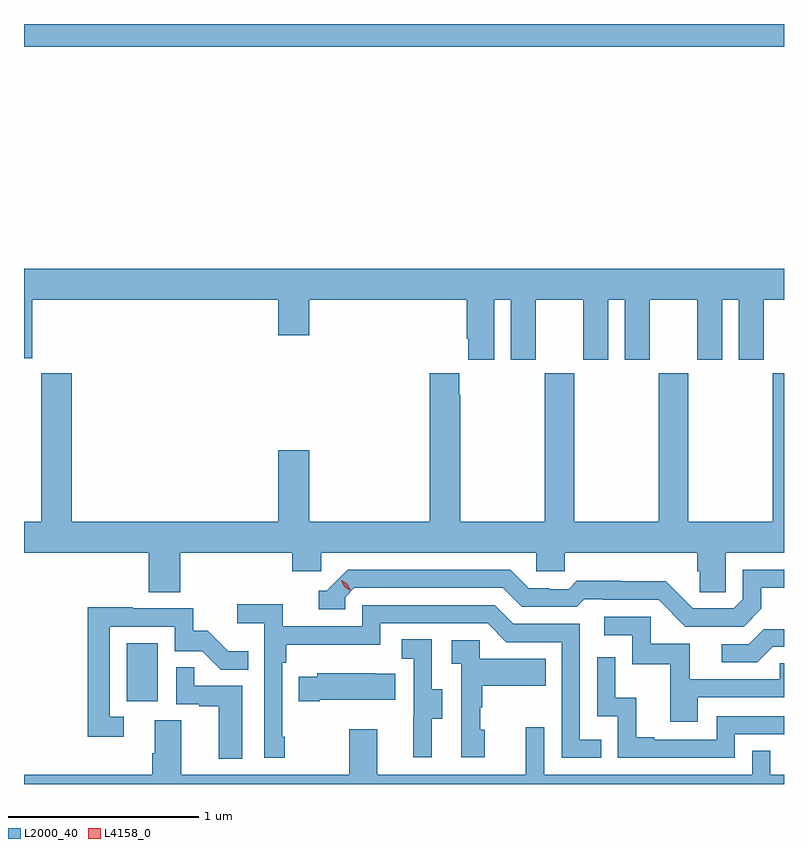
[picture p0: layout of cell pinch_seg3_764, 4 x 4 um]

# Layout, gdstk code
import gdstk
lib = gdstk.Library(unit=1e-6, precision=1e-09)
def R(c, l, rs):  # rectangles x0, y0, x1, y1
    for r in rs: c.add(gdstk.rectangle(r[:2], r[2:], *l))
def P(c, l, *ps):  # polygons
    for p in ps: c.add(gdstk.Polygon(p, *l))
L2000_40 = (2000, 40)
L4158_0 = (4158, 0)

pinch_seg3_764 = lib.new_cell('pinch_seg3_764')
R(pinch_seg3_764, L2000_40, [(811.562,734.766,811.726,735.073), (811.022,738.212,815.022,738.331)])
P(pinch_seg3_764, L2000_40, [(813.496,736.88),(813.584,736.88),(813.584,736.563),(813.715,736.563),(813.715,736.88),(813.965,736.88),(813.965,736.563),(814.096,736.563),(814.096,736.88),(814.184,736.88),(814.184,736.563),(814.315,736.563),(814.315,736.88),(814.565,736.88),(814.565,736.563),(814.696,736.563),(814.696,736.88),(814.784,736.88),(814.784,736.563),(814.915,736.563),(814.915,736.88),(815.022,736.88),(815.022,737.044),(811.022,737.044),(811.022,736.571),(811.066,736.571),(811.066,736.88),(812.36,736.88),(812.36,736.692),(812.524,736.692),(812.524,736.88),(813.353,736.88),(813.353,736.675),(813.359,736.675),(813.359,736.563),(813.496,736.563)],
  [(811.844,735.548),(812.435,735.548),(812.435,735.45),(812.586,735.45),(812.586,735.548),(813.717,735.548),(813.717,735.45),(813.867,735.45),(813.867,735.548),(814.565,735.548),(814.565,735.45),(814.579,735.45),(814.579,735.34),(814.716,735.34),(814.716,735.548),(815.022,735.548),(815.022,736.492),(814.963,736.492),(814.963,735.712),(814.518,735.712),(814.518,736.492),(814.363,736.492),(814.363,735.712),(813.918,735.712),(813.918,736.492),(813.763,736.492),(813.763,735.712),(813.318,735.712),(813.318,736.379),(813.313,736.379),(813.313,736.492),(813.158,736.492),(813.158,735.712),(812.524,735.712),(812.524,736.087),(812.36,736.087),(812.36,735.712),(811.274,735.712),(811.274,736.492),(811.114,736.492),(811.114,735.712),(811.022,735.712),(811.022,735.548),(811.679,735.548),(811.679,735.34),(811.844,735.34)],
  [(814.903,735.253),(814.903,735.363),(815.022,735.363),(815.022,735.459),(814.806,735.459),(814.806,735.303),(814.758,735.255),(814.542,735.255),(814.4,735.397),(814.164,735.397),(814.164,735.4),(813.931,735.4),(813.889,735.357),(813.786,735.357),(813.786,735.36),(813.679,735.36),(813.58,735.459),(812.727,735.459),(812.616,735.348),(812.573,735.348),(812.573,735.252),(812.712,735.252),(812.712,735.315),(812.76,735.363),(813.543,735.363),(813.642,735.264),(813.931,735.264),(813.97,735.303),(814.069,735.303),(814.069,735.3),(814.362,735.3),(814.503,735.159),(814.809,735.159)],
  [(812.395,734.581),(812.382,734.581),(812.382,734.969),(812.402,734.969),(812.402,735.065),(812.898,735.065),(812.898,735.177),(813.462,735.177),(813.561,735.078),(813.852,735.078),(813.852,734.469),(814.061,734.469),(814.061,734.565),(813.948,734.565),(813.948,735.174),(813.598,735.174),(813.499,735.273),(812.802,735.273),(812.802,735.162),(812.384,735.162),(812.384,735.278),(812.145,735.278),(812.145,735.176),(812.286,735.176),(812.286,734.469),(812.395,734.469)],
  [(811.546,734.685),(811.473,734.685),(811.473,735.159),(811.815,735.159),(811.815,735.03),(811.96,735.03),(812.058,734.932),(812.201,734.932),(812.201,735.031),(812.097,735.031),(811.99,735.138),(811.914,735.138),(811.914,735.255),(811.595,735.255),(811.595,735.26),(811.357,735.26),(811.357,734.58),(811.546,734.58)],
  [(814.567,734.787),(815.022,734.787),(815.022,734.967),(814.999,734.967),(814.999,734.883),(814.525,734.883),(814.525,735.069),(814.32,735.069),(814.32,735.21),(814.077,735.21),(814.077,735.114),(814.224,735.114),(814.224,734.961),(814.423,734.961),(814.423,734.658),(814.567,734.658)],
  [(814.963,735.054),(815.022,735.054),(815.022,735.146),(814.916,735.146),(814.836,735.066),(814.695,735.066),(814.695,734.973),(814.882,734.973)],
  [(813.169,734.674),(813.223,734.674),(813.223,734.829),(813.168,734.829),(813.168,735.092),(813.009,735.092),(813.009,734.989),(813.072,734.989),(813.072,734.685),(813.071,734.685),(813.071,734.472),(813.169,734.472)],
  [(813.448,734.616),(813.423,734.616),(813.423,734.735),(813.433,734.735),(813.433,734.849),(813.767,734.849),(813.767,734.989),(813.42,734.989),(813.42,735.087),(813.273,735.087),(813.273,734.963),(813.324,734.963),(813.324,734.472),(813.448,734.472)],
  [(814.764,734.592),(815.022,734.592),(815.022,734.688),(814.668,734.688),(814.668,734.565),(814.339,734.565),(814.339,734.578),(814.244,734.578),(814.244,734.786),(814.134,734.786),(814.134,734.998),(814.038,734.998),(814.038,734.688),(814.146,734.688),(814.146,734.469),(814.764,734.469)],
  [(812.17,734.847),(811.919,734.847),(811.919,734.945),(811.824,734.945),(811.824,734.751),(811.945,734.751),(811.945,734.739),(812.048,734.739),(812.048,734.465),(812.17,734.465)],
  [(812.578,734.774),(812.975,734.774),(812.975,734.911),(812.867,734.911),(812.867,734.914),(812.565,734.914),(812.565,734.896),(812.467,734.896),(812.467,734.767),(812.578,734.767)],
  [(815.022,734.38),(814.95,734.38),(814.95,734.507),(814.854,734.507),(814.854,734.38),(813.759,734.38),(813.759,734.629),(813.662,734.629),(813.662,734.38),(812.881,734.38),(812.881,734.62),(812.734,734.62),(812.734,734.38),(811.849,734.38),(811.849,734.666),(811.709,734.666),(811.709,734.492),(811.697,734.492),(811.697,734.38),(811.022,734.38),(811.022,734.331),(815.022,734.331)])
P(pinch_seg3_764, L4158_0, [(812.737,735.35),(812.707,735.37),(812.691,735.403),(812.691,735.403),(812.691,735.403),(812.722,735.384),(812.738,735.351),(812.738,735.35)])

lib.write_gds('pinch_seg3_764.gds')
